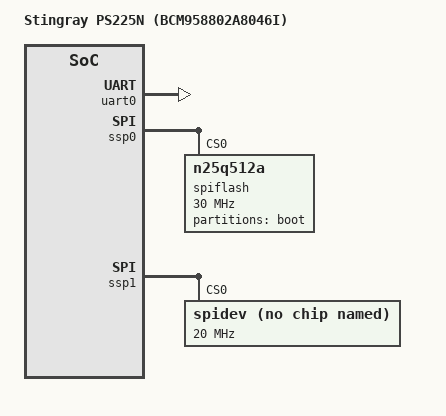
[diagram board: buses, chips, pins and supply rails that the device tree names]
// SPDX-License-Identifier: (GPL-2.0 or BSD-3-Clause)
/*
 *  Copyright(c) 2018 Broadcom
 */

/dts-v1/;

#define NUM_CRYPTO	32
#define NUM_RAID	0
#define ENABLE_ENET	0
#define ENABLE_MDIO	0
#define ENABLE_USB1	0
#define ENABLE_I2C0	1
#define ENABLE_SSP0	1
#define ENABLE_SSP1	1

#include "../../stingray-board-base.dtsi"

/ {
	model = "Stingray PS225N (BCM958802A8046I)";

	chosen {
		stdout-path = "serial1:115200n8";
	};
};

&sdio0 {
	no-1-8-v;
};

&uart0 {
	status = "okay";
};

&ssp0 {
	status = "okay";
	num-cs = <1>;

	spiflash: m25p80@0 {
		#address-cells = <1>;
		#size-cells = <1>;
		compatible = "n25q512a";
		spi-max-frequency = <30000000>;
		reg = <0>;
		spi-cpol;
		spi-cpha;
		pl022,com-mode = <0>;

		partition@0 {
			label = "boot";
			reg = <0x00000000 0x4000000>;
		};
	};
};

&ssp1 {
	status = "okay";
	num-cs = <1>;

	spidev@0 {
		compatible = "spidev";
		spi-max-frequency = <20000000>;
		reg = <0>;
		pl022,com-mode = <0>;
	};
};
